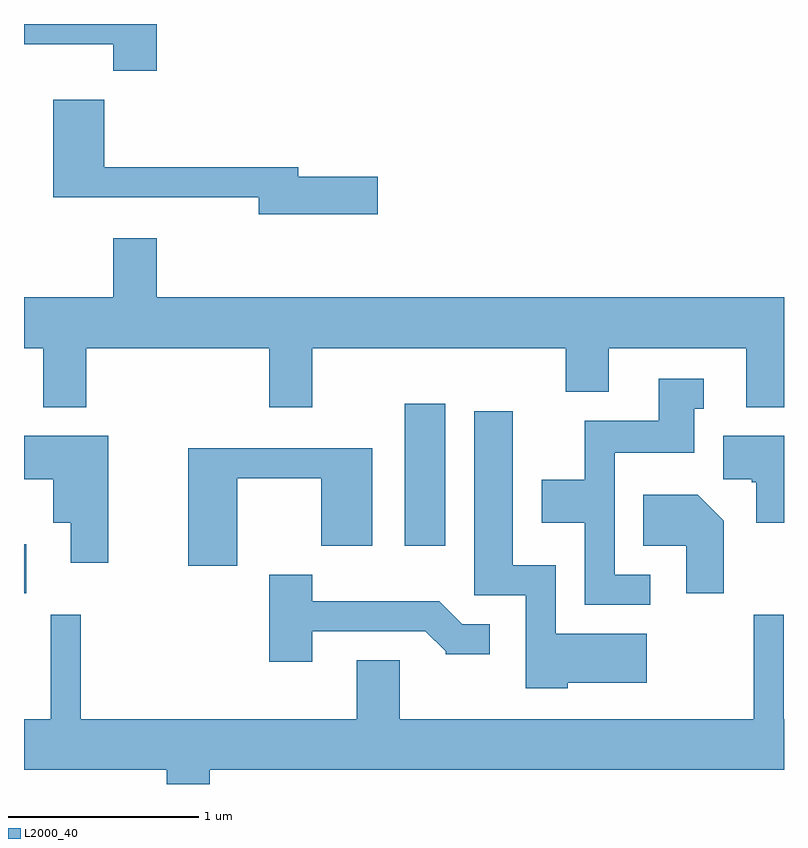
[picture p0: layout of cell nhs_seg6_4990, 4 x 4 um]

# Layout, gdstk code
import gdstk
lib = gdstk.Library(unit=1e-6, precision=1e-09)
def R(c, l, rs):  # rectangles x0, y0, x1, y1
    for r in rs: c.add(gdstk.rectangle(r[:2], r[2:], *l))
def P(c, l, *ps):  # polygons
    for p in ps: c.add(gdstk.Polygon(p, *l))
L2000_40 = (2000, 40)

nhs_seg6_4990 = lib.new_cell('nhs_seg6_4990')
R(nhs_seg6_4990, L2000_40, [(337.611,1573.166,337.624,1573.424), (339.616,1573.416,339.829,1574.164)])
P(nhs_seg6_4990, L2000_40, [(338.309,1576.162),(337.611,1576.162),(337.611,1576.056),(338.081,1576.056),(338.081,1575.916),(338.309,1575.916)],
  [(339.474,1575.359),(339.054,1575.359),(339.054,1575.409),(338.034,1575.409),(338.034,1575.764),(337.766,1575.764),(337.766,1575.251),(338.846,1575.251),(338.846,1575.161),(339.474,1575.161)],
  [(337.939,1574.456),(338.901,1574.456),(338.901,1574.146),(339.129,1574.146),(339.129,1574.456),(340.461,1574.456),(340.461,1574.226),(340.689,1574.226),(340.689,1574.456),(341.411,1574.456),(341.411,1574.146),(341.611,1574.146),(341.611,1574.724),(338.309,1574.724),(338.309,1575.034),(338.081,1575.034),(338.081,1574.724),(337.611,1574.724),(337.611,1574.456),(337.711,1574.456),(337.711,1574.146),(337.939,1574.146)],
  [(340.908,1573.264),(340.719,1573.264),(340.719,1573.906),(341.139,1573.906),(341.139,1574.136),(341.188,1574.136),(341.188,1574.294),(340.951,1574.294),(340.951,1574.074),(340.561,1574.074),(340.561,1573.764),(340.336,1573.764),(340.336,1573.536),(340.561,1573.536),(340.561,1573.106),(340.908,1573.106)],
  [(340.474,1572.696),(340.889,1572.696),(340.889,1572.954),(340.409,1572.954),(340.409,1573.314),(340.184,1573.314),(340.184,1574.124),(339.981,1574.124),(339.981,1573.156),(340.251,1573.156),(340.251,1572.666),(340.474,1572.666)],
  [(338.054,1573.994),(337.611,1573.994),(337.611,1573.766),(337.766,1573.766),(337.766,1573.536),(337.856,1573.536),(337.856,1573.326),(338.054,1573.326)],
  [(341.611,1573.994),(341.291,1573.994),(341.291,1573.766),(341.44,1573.766),(341.44,1573.751),(341.466,1573.751),(341.466,1573.536),(341.611,1573.536)],
  [(338.734,1573.771),(339.176,1573.771),(339.176,1573.416),(339.444,1573.416),(339.444,1573.929),(338.476,1573.929),(338.476,1573.311),(338.734,1573.311)],
  [(341.294,1573.547),(341.157,1573.684),(340.871,1573.684),(340.871,1573.416),(341.096,1573.416),(341.096,1573.166),(341.294,1573.166)],
  [(339.129,1572.966),(339.724,1572.966),(339.83,1572.86),(339.83,1572.846),(340.063,1572.846),(340.063,1573.004),(339.917,1573.004),(339.797,1573.124),(339.129,1573.124),(339.129,1573.264),(338.901,1573.264),(338.901,1572.806),(339.129,1572.806)],
  [(338.589,1572.236),(341.611,1572.236),(341.611,1572.504),(341.609,1572.504),(341.609,1573.053),(341.451,1573.053),(341.451,1572.504),(339.589,1572.504),(339.589,1572.814),(339.361,1572.814),(339.361,1572.504),(337.909,1572.504),(337.909,1573.053),(337.751,1573.053),(337.751,1572.504),(337.611,1572.504),(337.611,1572.236),(338.361,1572.236),(338.361,1572.162),(338.589,1572.162)])

lib.write_gds('nhs_seg6_4990.gds')
